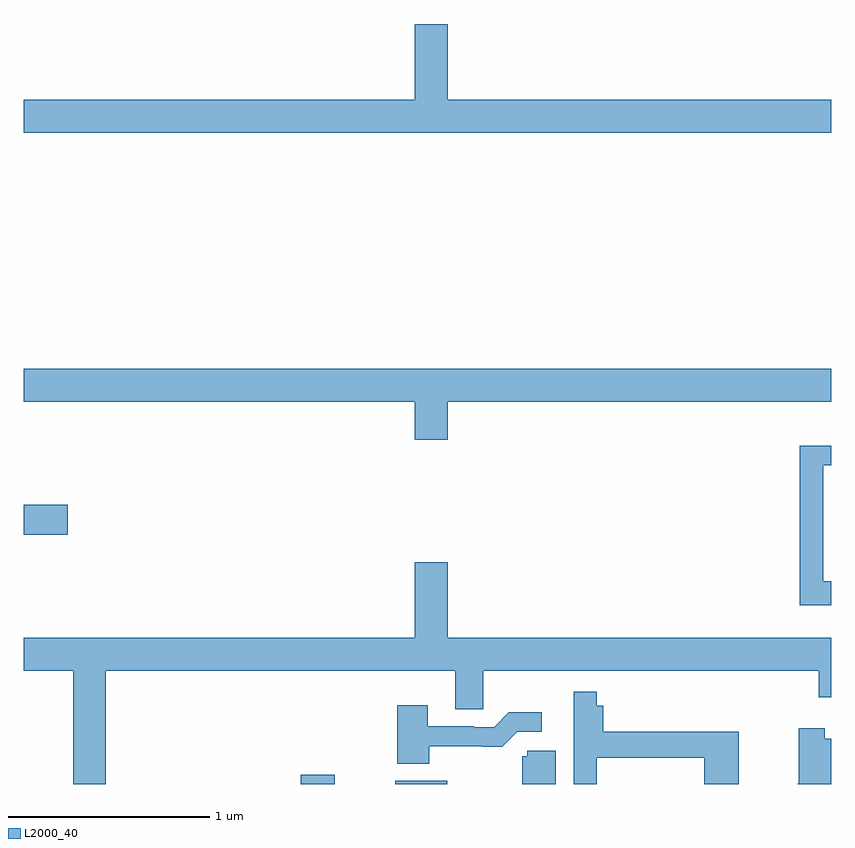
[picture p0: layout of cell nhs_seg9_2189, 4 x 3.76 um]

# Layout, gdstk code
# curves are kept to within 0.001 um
import gdstk
lib = gdstk.Library(unit=1e-6, precision=1e-09)
def R(c, l, rs):  # rectangles x0, y0, x1, y1
    for r in rs: c.add(gdstk.rectangle(r[:2], r[2:], *l))
def P(c, l, *ps):  # polygons
    for p in ps: c.add(gdstk.Polygon(p, *l))
L2000_40 = (2000, 40)

nhs_seg9_2189 = lib.new_cell('nhs_seg9_2189')
R(nhs_seg9_2189, L2000_40, [(236.372,1222.5,236.542,1222.546), (236.84,1222.5,237.098,1222.516), (235,1223.735,235.219,1223.882)])
P(nhs_seg9_2189, L2000_40, [(239,1225.888),(237.1,1225.888),(237.1,1226.263),(236.936,1226.263),(236.936,1225.888),(235,1225.888),(235,1225.724),(239,1225.724)],
  [(237.1,1224.392),(239,1224.392),(239,1224.556),(235,1224.556),(235,1224.392),(236.936,1224.392),(236.936,1224.204),(237.1,1224.204)],
  [(238.999,1223.505),(238.96,1223.505),(238.96,1224.078),(239,1224.078),(239,1224.176),(238.842,1224.176),(238.842,1223.385),(238.999,1223.385)],
  [(235.406,1223.06),(237.137,1223.06),(237.137,1222.87),(237.276,1222.87),(237.276,1223.06),(238.937,1223.06),(238.937,1222.929),(239,1222.929),(239,1223.224),(237.1,1223.224),(237.1,1223.599),(236.936,1223.599),(236.936,1223.224),(235,1223.224),(235,1223.06),(235.246,1223.06),(235.246,1222.5),(235.406,1222.5)],
  [(237.839,1222.63),(238.37,1222.63),(238.37,1222.5),(238.54,1222.5),(238.54,1222.759),(237.869,1222.759),(237.869,1222.888),(237.839,1222.888),(237.839,1222.957),(237.723,1222.957),(237.723,1222.5),(237.839,1222.5)],
  [(237.009,1222.686),(237.371,1222.685),(237.444,1222.758),(237.565,1222.758),(237.565,1222.855),(237.403,1222.855),(237.33,1222.782),(237.23,1222.782),(237.23,1222.785),(237.001,1222.785),(237.001,1222.891),(236.849,1222.891),(236.849,1222.601),(237.009,1222.601)],
  [(239,1222.723),(238.966,1222.723),(238.966,1222.777),(238.838,1222.777),(238.838,1222.501),(238.834,1222.501),(238.834,1222.5),(239,1222.5)],
  [(237.634,1222.665),(237.495,1222.665),(237.495,1222.638),(237.47,1222.638),(237.47,1222.5),(237.634,1222.5)])

lib.write_gds('nhs_seg9_2189.gds')
